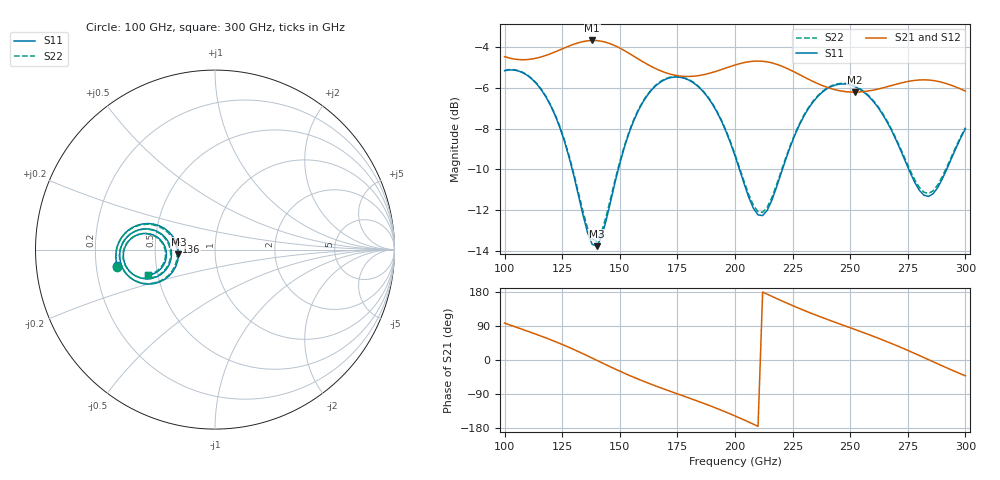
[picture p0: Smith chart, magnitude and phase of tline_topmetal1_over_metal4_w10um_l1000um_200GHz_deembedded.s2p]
! Created with skrf 2.2.0 (http://scikit-rf.org).
# GHz S DB R 50.0
! Port[1] = P1
! Port[2] = P2
!freq dBS11 angS11 dBS21 angS21 dBS12 angS12 dBS22 angS22
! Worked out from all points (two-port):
!   101 points, 100 GHz to 300 GHz, reference 50 ohm
!   highest |S21| = -3.68 dB at 138 GHz (marker M1); lowest = -6.2 dB at 252 GHz (marker M2)
!   |S21| within 3 dB of the highest: start of sweep to end of sweep
!   lowest |S11| = -13.8 dB at 140 GHz (marker M3), VSWR 1.52, Z = 33.1 - j1.75 ohm
!   |S11| at or under -10 dB: 129.3 GHz to 149.4 GHz (20.04 GHz wide, 14.4 % of centre); 201.9 GHz to 220.6 GHz (18.64 GHz wide, 8.83 % of centre); 275.4 GHz to 291.9 GHz (16.46 GHz wide, 5.8 % of centre)
!   |S22| runs from -13.5 to -5.1 dB; largest |S21 - S12| = 9.7e-14
!   S11 on the Smith chart (normalised r, x): 100 GHz: 0.29, -0.08; 136 GHz: 0.64, +0.06; 300 GHz: 0.44, -0.15
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100  -5.17 -170.2  -4.48 97.4  -4.48 97.4  -5.15 -170.0
110  -5.41 175.4  -4.62 76.0  -4.62 76.0  -5.39 175.8
120  -6.88 162.6  -4.33 53.4  -4.33 53.4  -6.84 163.2
128  -9.42 156.8  -3.96 33.2  -3.96 33.2  -9.33 157.7
134  -12.23 162.9  -3.74 16.6  -3.74 16.6  -12.05 163.8
136  -13.10 169.1  -3.70 10.9  -3.70 10.9  -12.88 169.8
138  -13.67 177.5  -3.68 5.1  -3.68 5.1  -13.42 177.9
140  -13.76 -172.9  -3.69 -0.8  -3.69 -0.8  -13.50 -172.9
146  -11.58 -152.6  -3.85 -18.2  -3.85 -18.2  -11.42 -153.3
154  -8.22 -150.8  -4.31 -40.2  -4.31 -40.2  -8.16 -151.3
168  -5.70 -166.6  -5.18 -74.0  -5.18 -74.0  -5.67 -166.8
176  -5.48 -176.8  -5.42 -91.5  -5.42 -91.5  -5.46 -176.8
186  -6.17 171.3  -5.37 -113.5  -5.37 -113.5  -6.13 171.5
200  -9.34 162.4  -4.89 -147.6  -4.89 -147.6  -9.26 162.8
212  -12.26 -173.7  -4.70 179.3  -4.70 179.3  -12.11 -173.8
224  -8.89 -155.0  -5.13 146.2  -5.13 146.2  -8.82 -155.5
234  -6.68 -161.3  -5.70 121.1  -5.70 121.1  -6.64 -161.6
252  -5.94 179.4  -6.22 80.7  -6.22 80.7  -5.91 179.3
268  -8.11 166.8  -5.89 43.4  -5.89 43.4  -8.05 167.0
276  -10.15 169.6  -5.67 22.7  -5.67 22.7  -10.04 169.8
284  -11.33 -175.0  -5.62 0.9  -5.62 0.9  -11.18 -175.2
300  -8.01 -159.0  -6.16 -41.8  -6.16 -41.8  -7.96 -159.6
